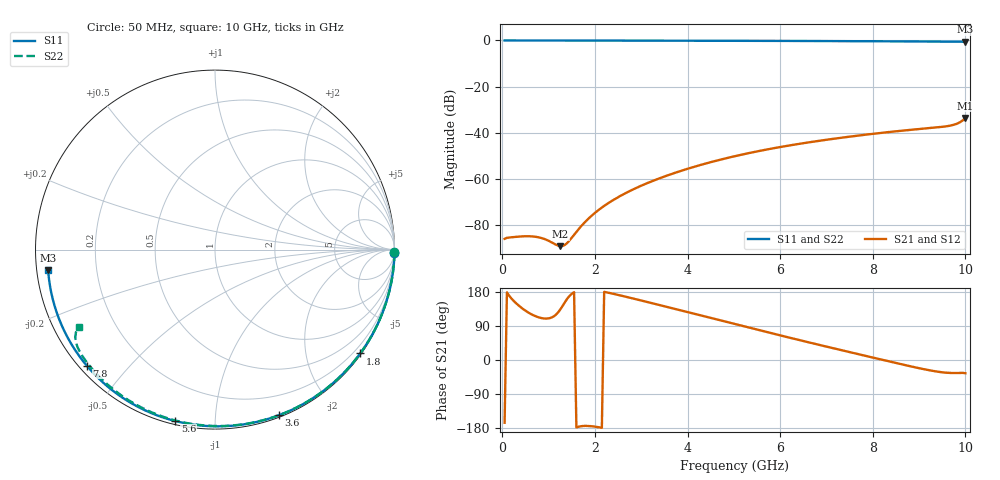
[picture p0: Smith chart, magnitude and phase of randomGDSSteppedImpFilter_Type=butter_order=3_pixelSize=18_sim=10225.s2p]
! freq	dB(S11)	phase(S11)	dB(S12)	phase(S12)
!  dB(S21)	phase(S21)	dB(S22)	phase(S22)
!S-par simulation data
#  GHz  S  DB  R 50
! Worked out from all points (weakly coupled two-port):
!   200 points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, 50 MHz to 10 GHz, reference 50 ohm
!   highest |S21| = -33.62 dB at 10 GHz (marker M1); lowest = -89.2 dB at 1.25 GHz (marker M2)
!   lowest |S11| = -0.6 dB at 10 GHz (marker M3), VSWR 30.73, Z = 1.63 - j3.11 ohm
!   |S11| at or under -10 dB: nowhere
!   |S22| runs from -1.2 to 0.0 dB; largest |S21 - S12| = 0
!   S11 on the Smith chart (normalised r, x): 50 MHz: open; 1.8 GHz: 0.03, -3.12; 3.6 GHz: 0.02, -1.45; 5.6 GHz: 0.02, -0.79; 7.8 GHz: 0.02, -0.38; 10 GHz: 0.03, -0.06
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0.05  -0.00 -1.0  -86.08 -165.6  -86.08 -165.6  -0.00 -0.8
0.65  -0.01 -13.0  -85.01 119.4  -85.01 119.4  -0.01 -10.9
1.25  -0.03 -24.9  -89.25 132.9  -89.25 132.9  -0.03 -20.9
1.7  -0.04 -33.6  -80.63 -174.7  -80.63 -174.7  -0.04 -28.2
1.75  -0.04 -34.6  -79.53 -174.1  -79.53 -174.1  -0.04 -29.1
1.8  -0.05 -35.6  -78.48 -173.9  -78.48 -173.9  -0.04 -29.9
2.1  -0.05 -41.3  -73.23 -177.8  -73.23 -177.8  -0.04 -34.7
2.45  -0.06 -47.9  -68.58 173.2  -68.58 173.2  -0.05 -40.3
2.9  -0.07 -56.3  -63.92 160.0  -63.92 160.0  -0.06 -47.4
3.4  -0.09 -65.4  -59.77 144.9  -59.77 144.9  -0.07 -55.2
3.6  -0.09 -69.0  -58.32 138.8  -58.32 138.8  -0.08 -58.3
4.3  -0.12 -81.3  -53.91 117.3  -53.91 117.3  -0.10 -68.8
5.05  -0.15 -94.0  -50.08 94.1  -50.08 94.1  -0.12 -79.7
5.6  -0.17 -103.1  -47.74 77.2  -47.74 77.2  -0.14 -87.5
6.7  -0.24 -120.7  -43.96 44.1  -43.96 44.1  -0.20 -102.6
7.8  -0.32 -137.9  -40.99 12.2  -40.99 12.2  -0.27 -117.2
8.35  -0.37 -146.5  -39.73 -3.6  -39.73 -3.6  -0.32 -124.5
9.1  -0.45 -158.3  -38.28 -24.2  -38.28 -24.2  -0.39 -134.5
9.65  -0.52 -167.2  -37.04 -34.1  -37.04 -34.1  -0.50 -142.6
9.85  -0.55 -170.4  -35.82 -34.1  -35.82 -34.1  -0.64 -146.7
9.95  -0.56 -172.1  -34.56 -34.1  -34.56 -34.1  -0.90 -149.3
10  -0.57 -172.9  -33.62 -34.9  -33.62 -34.9  -1.19 -150.4
